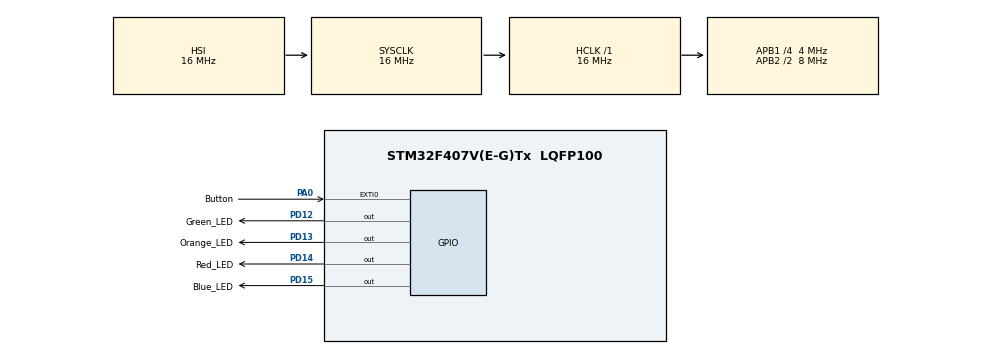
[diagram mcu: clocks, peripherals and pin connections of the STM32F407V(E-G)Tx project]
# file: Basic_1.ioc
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Mcu.Family=STM32F4
Mcu.Name=STM32F407V(E-G)Tx
Mcu.Package=LQFP100
NVIC.PriorityGroup=NVIC_PRIORITYGROUP_0
PA0-WKUP.GPIO_Label=Button
PA0-WKUP.GPIO_PuPd=GPIO_NOPULL
PA0-WKUP.Signal=GPXTI0
PD12.GPIO_Label=Green_LED
PD12.GPIO_ModeDefaultOutputPP=GPIO_MODE_OUTPUT_PP
PD12.Signal=GPIO_Output
PD13.GPIO_Label=Orange_LED
PD13.GPIO_ModeDefaultOutputPP=GPIO_MODE_OUTPUT_PP
PD13.Signal=GPIO_Output
PD14.GPIO_Label=Red_LED
PD14.GPIO_ModeDefaultOutputPP=GPIO_MODE_OUTPUT_PP
PD14.Signal=GPIO_Output
PD15.GPIO_Label=Blue_LED
PD15.GPIO_ModeDefaultOutputPP=GPIO_MODE_OUTPUT_PP
PD15.Signal=GPIO_Output
ProjectManager.HeapSize=0x200
ProjectManager.StackSize=0x400
ProjectManager.TargetToolchain=STM32CubeIDE
RCC.48MHZClocksFreq_Value=14285714.285714285
RCC.AHBFreq_Value=16000000
RCC.APB1CLKDivider=RCC_HCLK_DIV4
RCC.APB1Freq_Value=4000000
RCC.APB1TimFreq_Value=8000000
RCC.APB2CLKDivider=RCC_HCLK_DIV2
RCC.APB2Freq_Value=8000000
RCC.APB2TimFreq_Value=16000000
RCC.CortexFreq_Value=16000000
RCC.HCLKFreq_Value=16000000
RCC.HSE_VALUE=8000000
RCC.HSI_VALUE=16000000
RCC.LSE_VALUE=32768
RCC.PLLM=8
RCC.PLLN=50
RCC.PLLP=RCC_PLLP_DIV4
RCC.PLLQ=7
RCC.SYSCLKFreq_VALUE=16000000
RCC.VCOOutputFreq_Value=100000000
board=STM32F407G-DISC1

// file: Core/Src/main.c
/* USER CODE BEGIN Header */
/**
  ******************************************************************************
  * @file           : main.c
  * @brief          : Main program body
  ******************************************************************************
  * @attention
  *
  * Copyright (c) 2026 STMicroelectronics.
  * All rights reserved.
  *
  * This software is licensed under terms that can be found in the LICENSE file
  * in the root directory of this software component.
  * If no LICENSE file comes with this software, it is provided AS-IS.
  *
  ******************************************************************************
  */
/* USER CODE END Header */
#include "main.h"

/* USER CODE BEGIN PV */
uint8_t Button_press = 1U;
/* USER CODE END PV */

void SystemClock_Config(void);
static void MX_GPIO_Init(void);

int main(void)
{

  /* MCU Configuration--------------------------------------------------------*/

  /* Reset of all peripherals, Initializes the Flash interface and the Systick. */
  HAL_Init();

  /* Configure the system clock */
  SystemClock_Config();

  /* Initialize all configured peripherals */
  MX_GPIO_Init();
  /* USER CODE BEGIN 2 */
  //__disable_irq();
  /* USER CODE END 2 */

  /* Infinite loop */
  /* USER CODE BEGIN WHILE */
  while (1)
  {

	  switch(Button_press){

		  case 1U:
			  HAL_GPIO_WritePin(GPIOD, GPIO_PIN_12|GPIO_PIN_13|GPIO_PIN_14|GPIO_PIN_15, 1);
			  HAL_Delay(200);
			  HAL_GPIO_WritePin(GPIOD,GPIO_PIN_12 | GPIO_PIN_13 | GPIO_PIN_14 | GPIO_PIN_15,GPIO_PIN_RESET);
			  HAL_Delay(200);
			  break;

		  case 2U:
			  	HAL_GPIO_WritePin(GPIOD,GPIO_PIN_12 | GPIO_PIN_13 | GPIO_PIN_14 | GPIO_PIN_15,GPIO_PIN_RESET);
			  	// Green
				HAL_GPIO_WritePin(GPIOD, GPIO_PIN_12, 1);
				HAL_Delay(300);
				HAL_GPIO_WritePin(GPIOD, GPIO_PIN_12, 0);

				// Orange
				HAL_GPIO_WritePin(GPIOD, GPIO_PIN_13, 1);
				HAL_Delay(300);
				HAL_GPIO_WritePin(GPIOD, GPIO_PIN_13, 0);

				// Red
				HAL_GPIO_WritePin(GPIOD, GPIO_PIN_14, 1);
				HAL_Delay(300);
				HAL_GPIO_WritePin(GPIOD, GPIO_PIN_14, 0);

				// Blue
				HAL_GPIO_WritePin(GPIOD, GPIO_PIN_15, 1);
				HAL_Delay(300);
				HAL_GPIO_WritePin(GPIOD, GPIO_PIN_15, 0);
				Button_press = 1U;
			  break;

		  default:
			  break;
	  }
    /* USER CODE END WHILE */

  }
}

void SystemClock_Config(void)
{
  RCC_OscInitTypeDef RCC_OscInitStruct = {0};
  RCC_ClkInitTypeDef RCC_ClkInitStruct = {0};

  /** Configure the main internal regulator output voltage
  */
  __HAL_RCC_PWR_CLK_ENABLE();
  __HAL_PWR_VOLTAGESCALING_CONFIG(PWR_REGULATOR_VOLTAGE_SCALE1);

  /** Initializes the RCC Oscillators according to the specified parameters
  * in the RCC_OscInitTypeDef structure.
  */
  RCC_OscInitStruct.OscillatorType = RCC_OSCILLATORTYPE_HSI;
  RCC_OscInitStruct.HSIState = RCC_HSI_ON;
  RCC_OscInitStruct.HSICalibrationValue = RCC_HSICALIBRATION_DEFAULT;
  RCC_OscInitStruct.PLL.PLLState = RCC_PLL_NONE;
  if (HAL_RCC_OscConfig(&RCC_OscInitStruct) != HAL_OK)
  {
    Error_Handler();
  }

  /** Initializes the CPU, AHB and APB buses clocks
  */
  RCC_ClkInitStruct.ClockType = RCC_CLOCKTYPE_HCLK|RCC_CLOCKTYPE_SYSCLK
                              |RCC_CLOCKTYPE_PCLK1|RCC_CLOCKTYPE_PCLK2;
  RCC_ClkInitStruct.SYSCLKSource = RCC_SYSCLKSOURCE_HSI;
  RCC_ClkInitStruct.AHBCLKDivider = RCC_SYSCLK_DIV1;
  RCC_ClkInitStruct.APB1CLKDivider = RCC_HCLK_DIV4;
  RCC_ClkInitStruct.APB2CLKDivider = RCC_HCLK_DIV2;

  if (HAL_RCC_ClockConfig(&RCC_ClkInitStruct, FLASH_LATENCY_0) != HAL_OK)
  {
    Error_Handler();
  }
}

static void MX_GPIO_Init(void)
{
  GPIO_InitTypeDef GPIO_InitStruct = {0};

  /* GPIO Ports Clock Enable */
  __HAL_RCC_GPIOA_CLK_ENABLE();
  __HAL_RCC_GPIOD_CLK_ENABLE();

  /*Configure GPIO pin Output Level */
  HAL_GPIO_WritePin(GPIOD, Green_LED_Pin|Orange_LED_Pin|Red_LED_Pin|Blue_LED_Pin, GPIO_PIN_RESET);

  /*Configure GPIO pin : Button_Pin */
  GPIO_InitStruct.Pin = Button_Pin;
  GPIO_InitStruct.Mode = GPIO_MODE_IT_FALLING;
  GPIO_InitStruct.Pull = GPIO_NOPULL;
  HAL_GPIO_Init(Button_GPIO_Port, &GPIO_InitStruct);

  /*Configure GPIO pins : Green_LED_Pin Orange_LED_Pin Red_LED_Pin Blue_LED_Pin */
  GPIO_InitStruct.Pin = Green_LED_Pin|Orange_LED_Pin|Red_LED_Pin|Blue_LED_Pin;
  GPIO_InitStruct.Mode = GPIO_MODE_OUTPUT_PP;
  GPIO_InitStruct.Pull = GPIO_NOPULL;
  GPIO_InitStruct.Speed = GPIO_SPEED_FREQ_LOW;
  HAL_GPIO_Init(GPIOD, &GPIO_InitStruct);

  /* USER CODE BEGIN MX_GPIO_Init_2 */
  HAL_NVIC_SetPriority(EXTI0_IRQn, 0, 0);
  HAL_NVIC_EnableIRQ(EXTI0_IRQn);
  /* USER CODE END MX_GPIO_Init_2 */
}

/* USER CODE BEGIN 4 */
void HAL_GPIO_EXTI_Callback(uint16_t GPIO_Pin)
{
    if (GPIO_Pin == Button_Pin) // PA0 - User Button
    {
        Button_press = 2U;// đổi trạng thái để vòng lặp chính xử lý
    }
}

/* USER CODE END 4 */

void Error_Handler(void)
{
  __disable_irq();
  while (1)
  {
  }
}
